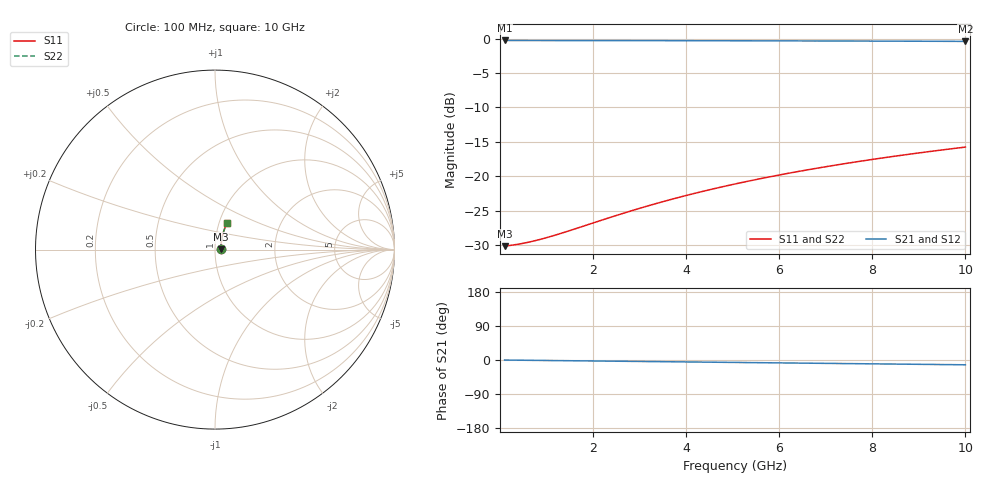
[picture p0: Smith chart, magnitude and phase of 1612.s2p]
# Hz S RI R 50.00
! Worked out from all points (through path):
!   100 points, 100 MHz to 10 GHz, reference 50 ohm
!   highest |S21| = -0.27 dB at 100 MHz (marker M1); lowest = -0.4 dB at 10 GHz (marker M2)
!   group delay of S21, straight-line fit = 3.51 ps
!   lowest |S11| = -30.2 dB at 100 MHz (marker M3), VSWR 1.06, Z = 53.2 + j0.165 ohm
!   |S11| at or under -10 dB: start of sweep to end of sweep
!   |S22| runs from -30.2 to -15.8 dB; largest |S21 - S12| = 0
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1e8  0.031 0.00155  0.969 -0.00216  0.969 -0.00216  0.031 0.00155
3e8  0.0314 0.00466  0.9686 -0.00646  0.9686 -0.00646  0.0314 0.00466
5e8  0.0316 0.00776  0.9683 -0.0108  0.9683 -0.0108  0.0316 0.00776
8e8  0.032 0.0124  0.968 -0.0172  0.968 -0.0172  0.032 0.0124
1e9  0.0323 0.0155  0.9677 -0.0215  0.9677 -0.0215  0.0323 0.0155
1.2e9  0.0325 0.0186  0.9674 -0.0258  0.9674 -0.0258  0.0325 0.0186
1.8e9  0.0334 0.0278  0.9665 -0.0387  0.9665 -0.0387  0.0334 0.0278
2.3e9  0.0343 0.0355  0.9656 -0.0494  0.9656 -0.0494  0.0343 0.0355
2.7e9  0.0351 0.0417  0.9648 -0.0579  0.9648 -0.0579  0.0351 0.0417
3.1e9  0.036 0.0478  0.9638 -0.0665  0.9638 -0.0665  0.036 0.0478
3.4e9  0.0367 0.0524  0.9631 -0.0729  0.9631 -0.0729  0.0367 0.0524
3.8e9  0.0378 0.0584  0.9619 -0.0814  0.9619 -0.0814  0.0378 0.0584
4.2e9  0.0389 0.0645  0.9607 -0.0898  0.9607 -0.0898  0.0389 0.0645
4.6e9  0.0402 0.0705  0.9594 -0.0983  0.9594 -0.0983  0.0402 0.0705
5.1e9  0.042 0.078  0.9575 -0.1088  0.9575 -0.1088  0.042 0.078
5.5e9  0.0435 0.084  0.956 -0.1172  0.956 -0.1172  0.0435 0.084
5.9e9  0.0451 0.0899  0.9543 -0.1255  0.9543 -0.1255  0.0451 0.0899
6.7e9  0.0486 0.1017  0.9506 -0.1421  0.9506 -0.1421  0.0486 0.1017
7.5e9  0.0525 0.1133  0.9464 -0.1586  0.9464 -0.1586  0.0525 0.1133
8.4e9  0.0573 0.1261  0.9413 -0.1768  0.9413 -0.1768  0.0573 0.1261
9.2e9  0.0621 0.1373  0.9363 -0.1929  0.9363 -0.1929  0.0621 0.1373
1e10  0.0672 0.1483  0.9309 -0.2088  0.9309 -0.2088  0.0672 0.1483
